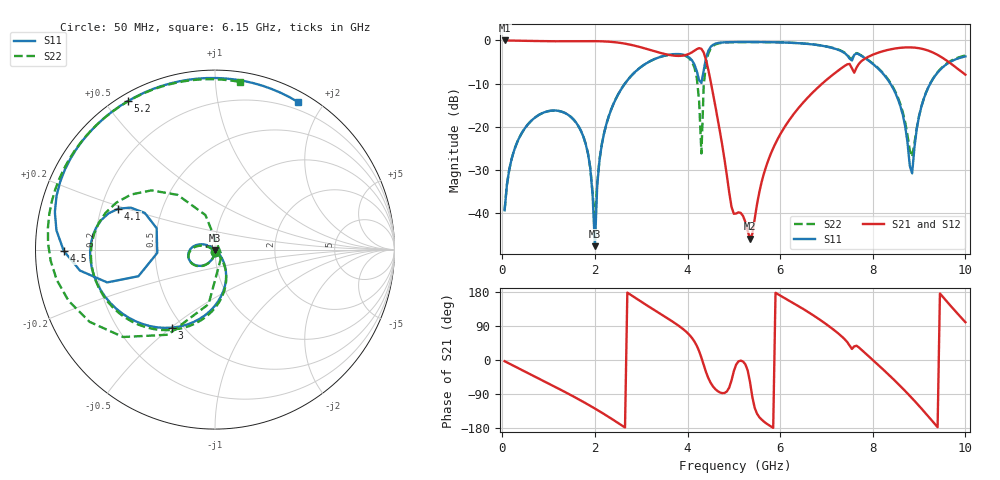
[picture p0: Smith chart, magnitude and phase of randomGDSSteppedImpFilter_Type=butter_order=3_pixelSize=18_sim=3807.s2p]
! freq	dB(S11)	phase(S11)	dB(S12)	phase(S12)
!  dB(S21)	phase(S21)	dB(S22)	phase(S22)
!S-par simulation data
#  GHz  S  DB  R 50
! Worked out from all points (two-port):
!   200 points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, 50 MHz to 10 GHz, reference 50 ohm
!   highest |S21| = -0.01 dB at 50 MHz (marker M1); lowest = -45.9 dB at 5.35 GHz (marker M2)
!   |S21| within 3 dB of the highest: start of sweep to 3.459 GHz; 8.072 GHz to 9.34 GHz (1.268 GHz wide, 14.6 % of centre) (the widest 2 of 3)
!   lowest |S11| = -47.6 dB at 2 GHz (marker M3), VSWR 1.01, Z = 50.1 - j0.407 ohm
!   |S11| at or under -10 dB: start of sweep to 2.647 GHz; 8.38 GHz to 9.241 GHz (861.1 MHz wide, 9.77 % of centre)
!   |S22| runs from -42.1 to -0.4 dB; largest |S21 - S12| = 0
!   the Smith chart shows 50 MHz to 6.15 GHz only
!   S11 on the Smith chart (normalised r, x): 50 MHz: 1.00, -0.02; 3 GHz: 0.44, -0.50; 4.1 GHz: 0.27, +0.19; 4.5 GHz: 0.09, -0.00; 5.2 GHz: 0.03, +0.57; 6.15 GHz: 0.11, +1.71
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0.05  -39.29 -91.8  -0.01 -3.2  -0.01 -3.2  -39.28 -91.7
0.65  -18.34 -131.6  -0.12 -40.5  -0.12 -40.5  -18.34 -130.3
1.75  -22.23 157.4  -0.17 -110.5  -0.17 -110.5  -22.23 163.6
2  -47.59 -76.7  -0.17 -128.1  -0.17 -128.1  -42.11 -111.1
2.1  -27.64 -47.8  -0.19 -135.4  -0.19 -135.4  -27.47 -54.6
2.25  -19.27 -59.1  -0.26 -146.7  -0.26 -146.7  -19.23 -60.2
3  -6.10 -118.7  -1.61 153.8  -1.61 153.8  -6.09 -116.2
3.4  -3.85 -149.3  -2.84 122.8  -2.84 122.8  -3.86 -146.7
4.1  -4.65 157.1  -2.72 57.5  -2.72 57.5  -5.05 146.7
4.3  -9.84 -176.7  -1.94 6.1  -1.94 6.1  -26.14 -40.6
4.35  -6.90 -160.8  -2.81 -13.3  -2.81 -13.3  -10.28 -96.7
4.5  -1.48 -179.6  -9.51 -60.4  -9.51 -60.4  -1.87 -150.1
5.05  -0.37 130.1  -40.03 -12.0  -40.03 -12.0  -0.40 148.7
5.2  -0.36 120.5  -40.64 -4.2  -40.64 -4.2  -0.38 138.9
5.35  -0.36 111.2  -45.87 -59.0  -45.87 -59.0  -0.37 129.7
6.15  -0.51 60.6  -19.15 159.8  -19.15 159.8  -0.50 81.4
6.7  -0.92 20.5  -12.08 119.1  -12.08 119.1  -0.90 43.4
7.7  -3.21 -63.3  -5.41 33.2  -5.41 33.2  -3.14 -39.2
8.35  -9.50 -138.5  -2.14 -39.6  -2.14 -39.6  -9.31 -110.6
8.85  -30.75 45.5  -1.62 -101.1  -1.62 -101.1  -26.93 -78.5
9.2  -10.85 -59.1  -2.36 -149.0  -2.36 -149.0  -10.82 -56.0
10  -3.71 -173.0  -7.91 99.8  -7.91 99.8  -3.49 -154.1
